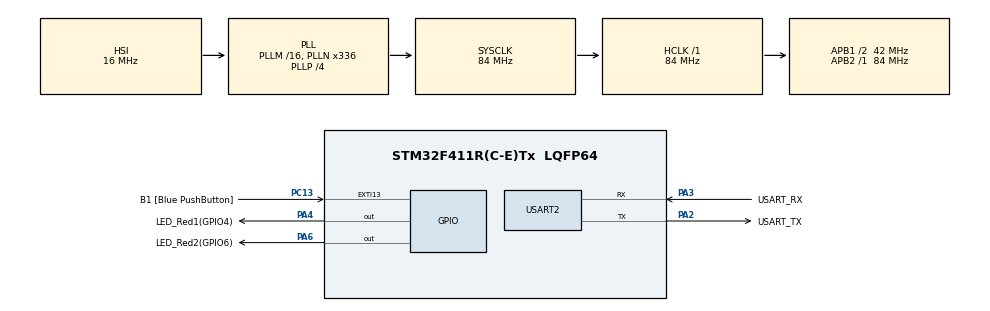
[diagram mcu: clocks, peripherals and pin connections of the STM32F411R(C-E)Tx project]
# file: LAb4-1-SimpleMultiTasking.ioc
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FREERTOS.Tasks01=defaultTask,24,128,StartDefaultTask,Default,NULL,Dynamic,NULL,NULL
Mcu.Family=STM32F4
Mcu.Name=STM32F411R(C-E)Tx
Mcu.Package=LQFP64
NVIC.PriorityGroup=NVIC_PRIORITYGROUP_4
NVIC.TIM4_IRQn=true\:15\:0\:false\:false\:true\:false\:false\:true\:true
NVIC.TimeBase=TIM4_IRQn
NVIC.TimeBaseIP=TIM4
PA13.GPIO_Label=TMS
PA13.Mode=Serial_Wire
PA13.Signal=SYS_JTMS-SWDIO
PA14.GPIO_Label=TCK
PA14.Mode=Serial_Wire
PA14.Signal=SYS_JTCK-SWCLK
PA2.GPIO_Label=USART_TX
PA2.Mode=Asynchronous
PA2.Signal=USART2_TX
PA3.GPIO_Label=USART_RX
PA3.Mode=Asynchronous
PA3.Signal=USART2_RX
PA4.GPIO_Label=LED_Red1(GPIO4)
PA4.Signal=GPIO_Output
PA6.GPIO_Label=LED_Red2(GPIO6)
PA6.Signal=GPIO_Output
PB3.GPIO_Label=SWO
PB3.Signal=SYS_JTDO-SWO
PC13-ANTI_TAMP.GPIO_Label=B1 [Blue PushButton]
PC13-ANTI_TAMP.GPIO_ModeDefaultEXTI=GPIO_MODE_IT_FALLING
PC13-ANTI_TAMP.Signal=GPXTI13
PC14-OSC32_IN.Mode=LSE-External-Oscillator
PC14-OSC32_IN.Signal=RCC_OSC32_IN
PC15-OSC32_OUT.Mode=LSE-External-Oscillator
PC15-OSC32_OUT.Signal=RCC_OSC32_OUT
PH0\ -\ OSC_IN.Mode=HSE-External-Clock-Source
PH0\ -\ OSC_IN.Signal=RCC_OSC_IN
PH1\ -\ OSC_OUT.Mode=HSE-External-Clock-Source
PH1\ -\ OSC_OUT.Signal=RCC_OSC_OUT
ProjectManager.HeapSize=0x200
ProjectManager.StackSize=0x400
ProjectManager.TargetToolchain=STM32CubeIDE
RCC.48MHZClocksFreq_Value=84000000
RCC.AHBFreq_Value=84000000
RCC.APB1CLKDivider=RCC_HCLK_DIV2
RCC.APB1Freq_Value=42000000
RCC.APB1TimFreq_Value=84000000
RCC.APB2Freq_Value=84000000
RCC.APB2TimFreq_Value=84000000
RCC.CortexFreq_Value=84000000
RCC.FLatency-AdvancedSettings=FLASH_LATENCY_2
RCC.HCLKFreq_Value=84000000
RCC.HSE_VALUE=8000000
RCC.HSI_VALUE=16000000
RCC.PLLN=336
RCC.PLLP=RCC_PLLP_DIV4
RCC.SYSCLKFreq_VALUE=84000000
RCC.SYSCLKSource=RCC_SYSCLKSOURCE_PLLCLK
RCC.VCOOutputFreq_Value=336000000
USART2.VirtualMode=VM_ASYNC
VP_FREERTOS_VS_CMSIS_V2.Mode=CMSIS_V2
VP_SYS_VS_tim4.Mode=TIM4
board=NUCLEO-F411RE

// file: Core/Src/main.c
/* USER CODE BEGIN Header */
/**
  ******************************************************************************
  * @file           : main.c
  * @brief          : Main program body
  ******************************************************************************
  * @attention
  *
  * Copyright (c) 2024 STMicroelectronics.
  * All rights reserved.
  *
  * This software is licensed under terms that can be found in the LICENSE file
  * in the root directory of this software component.
  * If no LICENSE file comes with this software, it is provided AS-IS.
  *
  ******************************************************************************
  */
/* USER CODE END Header */
#include "main.h"
#include "cmsis_os.h"

UART_HandleTypeDef huart2;

/* Definitions for defaultTask */
osThreadId_t defaultTaskHandle;
const osThreadAttr_t defaultTask_attributes = {
  .name = "defaultTask",
  .stack_size = 128 * 4,
  .priority = (osPriority_t) osPriorityNormal,
};
/* USER CODE BEGIN PV */
osThreadId_t secondTaskHandle;
osThreadId_t thirdTaskHandle;

void secondTask(void *argument) {
	char ch = 'A';
	while (1) {
		HAL_UART_Transmit(&huart2, &ch, 1, 1000);
		osDelay(1000);
	}
	vTaskDelete(NULL);
}

void thirdTask(void *argument) {
	char ch;
	while (1) {
		osDelay(1);
		if (HAL_UART_Receive(&huart2, &ch, 1, 0) == HAL_OK) {
			HAL_GPIO_TogglePin(GPIOA, GPIO_PIN_6);
			HAL_UART_Transmit(&huart2, &ch, 1, 1000);
			osDelay(10);
			HAL_GPIO_TogglePin(GPIOA, GPIO_PIN_6);

		}
	}
	vTaskDelete(NULL);
}
/* USER CODE END PV */

void SystemClock_Config(void);
static void MX_GPIO_Init(void);
static void MX_USART2_UART_Init(void);
void StartDefaultTask(void *argument);

int main(void)
{

  /* MCU Configuration--------------------------------------------------------*/

  /* Reset of all peripherals, Initializes the Flash interface and the Systick. */
  HAL_Init();

  /* Configure the system clock */
  SystemClock_Config();

  /* Initialize all configured peripherals */
  MX_GPIO_Init();
  MX_USART2_UART_Init();

  /* Init scheduler */
  osKernelInitialize();

  /* Create the thread(s) */
  /* creation of defaultTask */
  defaultTaskHandle = osThreadNew(StartDefaultTask, NULL, &defaultTask_attributes);

  /* USER CODE BEGIN RTOS_THREADS */
  /* add threads, ... */
  const osThreadAttr_t secondTask_attributes = {
		  .name = "secondTask",
		  .priority = (osPriority_t) osPriorityNormal,
		  .stack_size = 128
  };
  secondTaskHandle = osThreadNew(secondTask, NULL, &secondTask_attributes);

  const osThreadAttr_t thirdTask_attributes = {
		  .name = "thirdTask",
		  .priority = (osPriority_t) osPriorityNormal,
		  .stack_size = 128
  };
  thirdTaskHandle = osThreadNew(thirdTask, NULL, &thirdTask_attributes);
  /* USER CODE END RTOS_THREADS */

  /* Start scheduler */
  osKernelStart();

  /* We should never get here as control is now taken by the scheduler */

  /* Infinite loop */
  while (1)
  {

  }
}

void SystemClock_Config(void)
{
  RCC_OscInitTypeDef RCC_OscInitStruct = {0};
  RCC_ClkInitTypeDef RCC_ClkInitStruct = {0};

  /** Configure the main internal regulator output voltage
  */
  __HAL_RCC_PWR_CLK_ENABLE();
  __HAL_PWR_VOLTAGESCALING_CONFIG(PWR_REGULATOR_VOLTAGE_SCALE1);

  /** Initializes the RCC Oscillators according to the specified parameters
  * in the RCC_OscInitTypeDef structure.
  */
  RCC_OscInitStruct.OscillatorType = RCC_OSCILLATORTYPE_HSI;
  RCC_OscInitStruct.HSIState = RCC_HSI_ON;
  RCC_OscInitStruct.HSICalibrationValue = RCC_HSICALIBRATION_DEFAULT;
  RCC_OscInitStruct.PLL.PLLState = RCC_PLL_ON;
  RCC_OscInitStruct.PLL.PLLSource = RCC_PLLSOURCE_HSI;
  RCC_OscInitStruct.PLL.PLLM = 16;
  RCC_OscInitStruct.PLL.PLLN = 336;
  RCC_OscInitStruct.PLL.PLLP = RCC_PLLP_DIV4;
  RCC_OscInitStruct.PLL.PLLQ = 4;
  if (HAL_RCC_OscConfig(&RCC_OscInitStruct) != HAL_OK)
  {
    Error_Handler();
  }

  /** Initializes the CPU, AHB and APB buses clocks
  */
  RCC_ClkInitStruct.ClockType = RCC_CLOCKTYPE_HCLK|RCC_CLOCKTYPE_SYSCLK
                              |RCC_CLOCKTYPE_PCLK1|RCC_CLOCKTYPE_PCLK2;
  RCC_ClkInitStruct.SYSCLKSource = RCC_SYSCLKSOURCE_PLLCLK;
  RCC_ClkInitStruct.AHBCLKDivider = RCC_SYSCLK_DIV1;
  RCC_ClkInitStruct.APB1CLKDivider = RCC_HCLK_DIV2;
  RCC_ClkInitStruct.APB2CLKDivider = RCC_HCLK_DIV1;

  if (HAL_RCC_ClockConfig(&RCC_ClkInitStruct, FLASH_LATENCY_2) != HAL_OK)
  {
    Error_Handler();
  }
}

static void MX_USART2_UART_Init(void)
{

  huart2.Instance = USART2;
  huart2.Init.BaudRate = 115200;
  huart2.Init.WordLength = UART_WORDLENGTH_8B;
  huart2.Init.StopBits = UART_STOPBITS_1;
  huart2.Init.Parity = UART_PARITY_NONE;
  huart2.Init.Mode = UART_MODE_TX_RX;
  huart2.Init.HwFlowCtl = UART_HWCONTROL_NONE;
  huart2.Init.OverSampling = UART_OVERSAMPLING_16;
  if (HAL_UART_Init(&huart2) != HAL_OK)
  {
    Error_Handler();
  }

}

static void MX_GPIO_Init(void)
{
  GPIO_InitTypeDef GPIO_InitStruct = {0};

  /* GPIO Ports Clock Enable */
  __HAL_RCC_GPIOC_CLK_ENABLE();
  __HAL_RCC_GPIOH_CLK_ENABLE();
  __HAL_RCC_GPIOA_CLK_ENABLE();
  __HAL_RCC_GPIOB_CLK_ENABLE();

  /*Configure GPIO pin Output Level */
  HAL_GPIO_WritePin(GPIOA, LED_Red1_Pin|LED_Red2_Pin, GPIO_PIN_RESET);

  /*Configure GPIO pin : B1_Pin */
  GPIO_InitStruct.Pin = B1_Pin;
  GPIO_InitStruct.Mode = GPIO_MODE_IT_FALLING;
  GPIO_InitStruct.Pull = GPIO_NOPULL;
  HAL_GPIO_Init(B1_GPIO_Port, &GPIO_InitStruct);

  /*Configure GPIO pins : LED_Red1_Pin LED_Red2_Pin */
  GPIO_InitStruct.Pin = LED_Red1_Pin|LED_Red2_Pin;
  GPIO_InitStruct.Mode = GPIO_MODE_OUTPUT_PP;
  GPIO_InitStruct.Pull = GPIO_NOPULL;
  GPIO_InitStruct.Speed = GPIO_SPEED_FREQ_LOW;
  HAL_GPIO_Init(GPIOA, &GPIO_InitStruct);

}

void StartDefaultTask(void *argument)
{
  /* USER CODE BEGIN 5 */
  /* Infinite loop */
  for(;;)
  {
	//The external red LED is set to pin 4 (PA4 as GPIO)
	HAL_GPIO_TogglePin(GPIOA, GPIO_PIN_4);
    osDelay(50);
  }
  /* USER CODE END 5 */
}

void HAL_TIM_PeriodElapsedCallback(TIM_HandleTypeDef *htim)
{
  if (htim->Instance == TIM4) {
    HAL_IncTick();
  }
}

void Error_Handler(void)
{
  __disable_irq();
  while (1)
  {
  }
}
